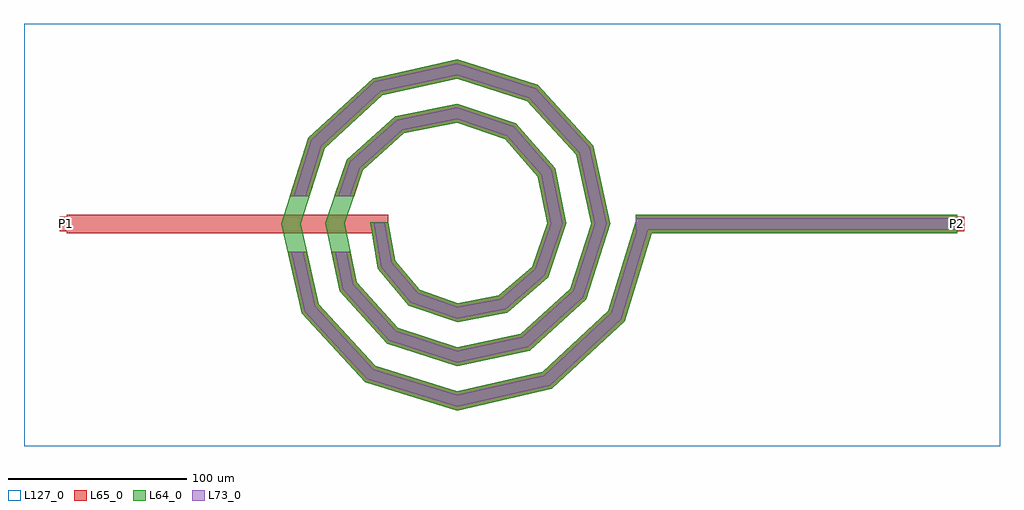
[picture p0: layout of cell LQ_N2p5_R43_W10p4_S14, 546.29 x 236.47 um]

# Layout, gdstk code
import gdstk
lib = gdstk.Library(unit=1e-6, precision=1e-09)
def R(c, l, rs):  # rectangles x0, y0, x1, y1
    for r in rs: c.add(gdstk.rectangle(r[:2], r[2:], *l))
def P(c, l, *ps):  # polygons
    for p in ps: c.add(gdstk.Polygon(p, *l))
L64_0 = (64, 0)
L65_0 = (65, 0)
L73_0 = (73, 0)
L127_0 = (127, 0)

lq_n2p5_r43_w10p4_s14 = lib.new_cell('LQ_N2p5_R43_W10p4_S14')
R(lq_n2p5_r43_w10p4_s14, L64_0, [(99.998,-5.2,279.998,5.2)])
P(lq_n2p5_r43_w10p4_s14, L64_0, [(-34.575,-20.484),(-20.745,-36.798),(0.415,-44.296),(23.521,-39.942),(42.114,-23.872),(50.463,0.369),(45.305,26.568),(26.99,47.436),(0.333,56.631),(-29.623,50.664),(-52.762,30.102),(-62.8,0.303),(-56.02,-32.683),(-33.209,-58.091),(0.278,-68.969),(35.747,-61.375),(63.423,-36.313),(75.139,0.256),(66.728,38.814),(39.414,68.756),(0.238,81.308),(-41.884,72.08),(-74.091,42.514),(-87.478,0.222),(-77.43,-44.956),(-45.611,-79.427),(0.209,-93.648),(48.029,-82.78),(84.763,-48.707),(100.228,1.53),(110.168,-1.53),(93.882,-54.434),(53.055,-92.303),(0.209,-104.408),(-51.36,-88.532),(-86.966,-49.958),(-98.237,0.222),(-83.181,48.287),(-46.86,81.629),(0.238,92.066),(45.216,77.828),(76.294,43.76),(85.895,0.256),(72.474,-42.147),(40.656,-70.959),(0.278,-79.724),(-39.081,-67.119),(-65.627,-37.55),(-73.552,0.303),(-61.761,36.018),(-34.44,60.296),(0.333,67.381),(32.96,56.4),(54.968,31.324),(61.208,0.369),(51.034,-29.907),(28.201,-49.643),(0.415,-55.035),(-26.864,-45.663),(-44.323,-25.068),(-48.615,0.91),(-38.375,0.91)])
R(lq_n2p5_r43_w10p4_s14, L65_0, [(-218.295,-5.2,-38.295,5.2), (99.998,-5.2,279.998,5.2), (-222.295,-4,-214.295,4), (275.998,-4,283.998,4)])
P(lq_n2p5_r43_w10p4_s14, L65_0, [(-77.43,-44.956),(-45.611,-79.427),(0.209,-93.648),(48.029,-82.78),(84.764,-48.707),(100.228,1.53),(110.168,-1.53),(93.882,-54.434),(53.055,-92.303),(0.209,-104.408),(-51.36,-88.532),(-86.966,-49.959),(-94.683,-15.6),(-84.024,-15.6)],
  [(-56.02,-32.683),(-33.209,-58.091),(0.278,-68.969),(35.747,-61.375),(63.423,-36.313),(75.139,0.256),(66.728,38.814),(39.415,68.756),(0.238,81.308),(-41.884,72.08),(-74.091,42.514),(-82.521,15.6),(-93.42,15.6),(-83.181,48.287),(-46.86,81.629),(0.238,92.066),(45.216,77.828),(76.294,43.76),(85.895,0.256),(72.474,-42.147),(40.657,-70.959),(0.278,-79.724),(-39.081,-67.119),(-65.627,-37.55),(-70.223,-15.6),(-59.597,-15.6)],
  [(-20.745,-36.798),(0.415,-44.296),(23.521,-39.942),(42.114,-23.872),(50.463,0.369),(45.305,26.568),(26.99,47.436),(0.333,56.631),(-29.623,50.664),(-52.762,30.102),(-57.55,15.6),(-68.502,15.6),(-61.761,36.018),(-34.44,60.296),(0.333,67.381),(32.96,56.4),(54.968,31.324),(61.208,0.369),(51.034,-29.908),(28.201,-49.643),(0.415,-55.035),(-26.864,-45.663),(-44.324,-25.068),(-48.615,0.91),(-38.375,0.91),(-34.575,-20.484)])
R(lq_n2p5_r43_w10p4_s14, L73_0, [(99.998,-3.2,279.998,3.2)])
P(lq_n2p5_r43_w10p4_s14, L73_0, [(-79.264,-45.918),(-46.717,-81.178),(0.128,-95.717),(48.996,-84.612),(86.517,-49.808),(102.139,0.942),(108.256,0.942),(92.129,-53.333),(52.089,-90.472),(0.128,-102.338),(-50.254,-86.781),(-85.132,-48.996),(-92.633,-15.6),(-86.074,-15.6)],
  [(-57.868,-33.619),(-34.338,-59.827),(0.171,-71.037),(36.691,-63.218),(65.163,-37.435),(77.207,0.158),(68.568,39.765),(40.53,70.501),(0.147,83.377),(-42.841,73.916),(-75.839,43.624),(-84.617,15.6),(-91.324,15.6),(-81.433,47.177),(-45.903,79.793),(0.147,89.997),(44.1,76.083),(74.454,42.808),(83.827,0.158),(70.734,-41.025),(39.712,-69.116),(0.171,-77.656),(-37.952,-65.382),(-63.779,-36.614),(-68.179,-15.6),(-61.641,-15.6)],
  [(-21.922,-38.503),(0.256,-46.361),(24.421,-41.808),(43.829,-25.032),(52.53,0.227),(47.163,27.483),(28.138,49.16),(0.205,58.699),(-30.549,52.516),(-54.492,31.239),(-59.656,15.6),(-66.396,15.6),(-60.03,34.88),(-33.514,58.444),(0.205,65.314),(31.812,54.676),(53.11,30.41),(59.142,0.227),(49.319,-28.747),(27.301,-47.778),(0.256,-52.97),(-25.687,-43.958),(-42.449,-24.186),(-46.646,0.56),(-40.345,0.56),(-36.45,-21.366)])
R(lq_n2p5_r43_w10p4_s14, L127_0, [(-242.295,-124.408,303.998,112.066)])
lq_n2p5_r43_w10p4_s14.add(gdstk.Label('P2', (279.998,0), layer=65, texttype=0))
lq_n2p5_r43_w10p4_s14.add(gdstk.Label('P1', (-218.295,0), layer=65, texttype=0))
lq_n2p5_r43_w10p4_s14.add(gdstk.Label('P2', (283.998,0), layer=145, texttype=0))
lq_n2p5_r43_w10p4_s14.add(gdstk.Label('P1', (-222.295,0), layer=145, texttype=0))

lib.write_gds('LQ_N2p5_R43_W10p4_S14.gds')
